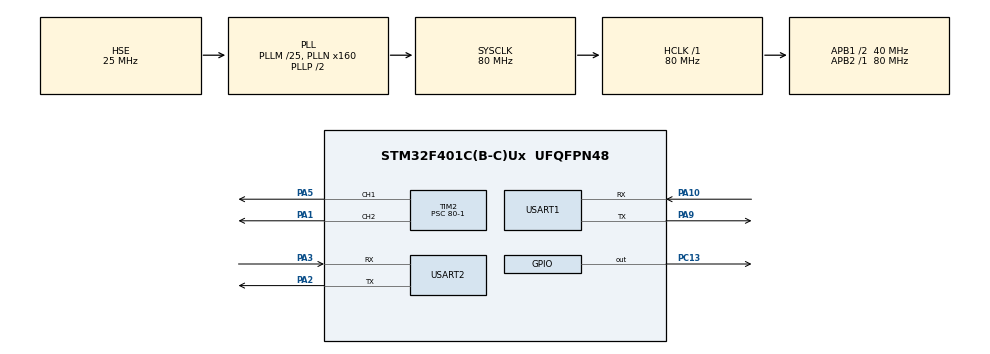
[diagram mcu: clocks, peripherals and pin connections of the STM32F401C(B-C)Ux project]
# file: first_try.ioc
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FREERTOS.BinarySemaphores01=myBinarySem_UART1GY953Recv,Dynamic,NULL;myBinarySem_UART2Send,Dynamic,NULL;myBinarySem_UART1ToUART2TransReady,Dynamic,NULL;myBinarySem_UART2Recv,Dynamic,NULL;myBinarySem_MotorSpdChange,Dynamic,NULL;myBinarySem_YawCorrection,Dynamic,NULL;myBinarySem_PitchCorrection,Dynamic,NULL;myBinarySem_YawCorrect,Dynamic,NULL
FREERTOS.Tasks01=defaultTask,0,128,StartDefaultTask,Default,NULL,Dynamic,NULL,NULL;myTask02,-3,128,StartTaskUART1GY953,Default,NULL,Dynamic,NULL,NULL;myTask03,-3,128,StartTaskUART2,Default,NULL,Dynamic,NULL,NULL;myTask04,-3,128,StartTaskMotorCtrl,Default,NULL,Dynamic,NULL,NULL;myTask05,-3,128,StartTaskPID,Default,NULL,Dynamic,NULL,NULL;myTask06,-3,128,StartTaskYawCorrect,Default,NULL,Dynamic,NULL,NULL
FREERTOS.configUSE_NEWLIB_REENTRANT=0
Mcu.Family=STM32F4
Mcu.Name=STM32F401C(B-C)Ux
Mcu.Package=UFQFPN48
NVIC.PriorityGroup=NVIC_PRIORITYGROUP_4
NVIC.TIM1_UP_TIM10_IRQn=true\:15\:0\:false\:false\:true\:false\:false\:true\:true
NVIC.TimeBase=TIM1_UP_TIM10_IRQn
NVIC.TimeBaseIP=TIM1
NVIC.USART1_IRQn=true\:5\:0\:false\:false\:true\:true\:true\:true\:true
NVIC.USART2_IRQn=true\:5\:0\:false\:false\:true\:true\:true\:true\:true
PA1.Signal=S_TIM2_CH2
PA10.Mode=Asynchronous
PA10.Signal=USART1_RX
PA2.Mode=Asynchronous
PA2.Signal=USART2_TX
PA3.Mode=Asynchronous
PA3.Signal=USART2_RX
PA5.Signal=S_TIM2_CH1_ETR
PA9.Mode=Asynchronous
PA9.Signal=USART1_TX
PC13-ANTI_TAMP.GPIO_ModeDefaultOutputPP=GPIO_MODE_OUTPUT_OD
PC13-ANTI_TAMP.GPIO_PuPd=GPIO_NOPULL
PC13-ANTI_TAMP.Signal=GPIO_Output
PH0\ -\ OSC_IN.Mode=HSE-External-Oscillator
PH0\ -\ OSC_IN.Signal=RCC_OSC_IN
PH1\ -\ OSC_OUT.Mode=HSE-External-Oscillator
PH1\ -\ OSC_OUT.Signal=RCC_OSC_OUT
ProjectManager.HeapSize=0x200
ProjectManager.StackSize=0x400
ProjectManager.TargetToolchain=MDK-ARM V5
RCC.48MHZClocksFreq_Value=40000000
RCC.AHBFreq_Value=80000000
RCC.APB1CLKDivider=RCC_HCLK_DIV2
RCC.APB1Freq_Value=40000000
RCC.APB1TimFreq_Value=80000000
RCC.APB2Freq_Value=80000000
RCC.APB2TimFreq_Value=80000000
RCC.CortexFreq_Value=80000000
RCC.HCLKFreq_Value=80000000
RCC.HSE_VALUE=25000000
RCC.HSI_VALUE=16000000
RCC.LSE_VALUE=32768
RCC.PLLM=25
RCC.PLLN=160
RCC.PLLSourceVirtual=RCC_PLLSOURCE_HSE
RCC.SYSCLKFreq_VALUE=80000000
RCC.SYSCLKSource=RCC_SYSCLKSOURCE_PLLCLK
RCC.VCOOutputFreq_Value=160000000
SH.S_TIM2_CH1_ETR.0=TIM2_CH1,PWM Generation1 CH1
SH.S_TIM2_CH2.0=TIM2_CH2,PWM Generation2 CH2
TIM2.Channel-PWM\ Generation1\ CH1=TIM_CHANNEL_1
TIM2.Channel-PWM\ Generation2\ CH2=TIM_CHANNEL_2
TIM2.Period=20000-1
TIM2.Prescaler=80-1
TIM2.Pulse-PWM\ Generation1\ CH1=500
TIM2.Pulse-PWM\ Generation2\ CH2=500
USART1.VirtualMode=VM_ASYNC
USART2.VirtualMode=VM_ASYNC
VP_FREERTOS_VS_CMSIS_V1.Mode=CMSIS_V1
VP_SYS_VS_tim1.Mode=TIM1
board=custom

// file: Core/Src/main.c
/* USER CODE BEGIN Header */
/* USER CODE END Header */
#include "main.h"
#include "cmsis_os.h"

/* USER CODE BEGIN Includes */
#include "stdio.h"
#include "stdlib.h"
#include "string.h"
/* USER CODE END Includes */

/* USER CODE BEGIN PTD */
int SPEED;//要达到的速度
float PitchTemp = 0;
float YawTemp = 0;
float YawAngleCalibration = -42;
float PitchAngleCalibration = 3 ;
float PitchAverage = 0;
float YawAverage = 0;
int YawCorrectionSpeed = 0;
float PitchError = 0;
float SUM = 0;
int	flag=0;
typedef union {
    uint16_t   U16Data;
    int16_t    I16Data;
    int16_t    T16Data;
    uint8_t    C8Data[2];
}DataJointUnion;
typedef union {
    int16_t	   P16Data;
    uint8_t    P8Data[2];
}DataPitchUnion;

typedef union {
    int16_t	   Y16Data;
    uint8_t    Y8Data[2];
}DataYawUnion;

/* USER CODE END PTD */

/* USER CODE BEGIN PD */
#define	UART2_RECV_BUFF_LEN			11
#define UART1_RECV_BUFF_LEN         11
#define UART1_TRANS_BUFF_LEN        64
#define UART2_SEND_BUFF_LEN         64
#define	Pitch_Buff_LEN				64
#define	Yaw_Buff_LEN				64

/* USER CODE END PD */

TIM_HandleTypeDef htim2;

UART_HandleTypeDef huart1;
UART_HandleTypeDef huart2;

osThreadId defaultTaskHandle;
osThreadId myTask02Handle;
osThreadId myTask03Handle;
osThreadId myTask04Handle;
osThreadId myTask05Handle;
osThreadId myTask06Handle;
osSemaphoreId myBinarySem_UART1GY953RecvHandle;
osSemaphoreId myBinarySem_UART2SendHandle;
osSemaphoreId myBinarySem_UART1ToUART2TransReadyHandle;
osSemaphoreId myBinarySem_UART2RecvHandle;
osSemaphoreId myBinarySem_MotorSpdChangeHandle;
osSemaphoreId myBinarySem_YawCorrectionHandle;
osSemaphoreId myBinarySem_PitchCorrectionHandle;
osSemaphoreId myBinarySem_YawCorrectHandle;
/* USER CODE BEGIN PV */
uint8_t     UART1RecvBuff[UART1_RECV_BUFF_LEN];
uint8_t     UART1TransToUART2Buff[UART1_TRANS_BUFF_LEN];
int16_t     PitchBuff[Pitch_Buff_LEN];
int16_t     YawBuff[Pitch_Buff_LEN];
uint16_t    UART1TransToUART2Size=0;
uint16_t    PitchSize=0;
uint16_t    YawSize=0;
uint16_t    UART2SendSize=0;
uint8_t     UART2SendBuff[UART2_SEND_BUFF_LEN];
uint8_t 	UART2RecvBuff[UART2_RECV_BUFF_LEN];
/* USER CODE END PV */

void SystemClock_Config(void);
static void MX_GPIO_Init(void);
static void MX_TIM2_Init(void);
static void MX_USART1_UART_Init(void);
static void MX_USART2_UART_Init(void);
void StartDefaultTask(void const * argument);
void StartTaskUART1GY953(void const * argument);
void StartTaskUART2(void const * argument);
void StartTaskMotorCtrl(void const * argument);
void StartTaskPID(void const * argument);
void StartTaskYawCorrect(void const * argument);

int main(void)
{

  /* MCU Configuration--------------------------------------------------------*/

  /* Reset of all peripherals, Initializes the Flash interface and the Systick. */
  HAL_Init();

  /* Configure the system clock */
  SystemClock_Config();

  /* Initialize all configured peripherals */
  MX_GPIO_Init();
  MX_TIM2_Init();
  MX_USART1_UART_Init();
  MX_USART2_UART_Init();

  /* Create the semaphores(s) */
  /* definition and creation of myBinarySem_UART1GY953Recv */
  osSemaphoreDef(myBinarySem_UART1GY953Recv);
  myBinarySem_UART1GY953RecvHandle = osSemaphoreCreate(osSemaphore(myBinarySem_UART1GY953Recv), 1);

  /* definition and creation of myBinarySem_UART2Send */
  osSemaphoreDef(myBinarySem_UART2Send);
  myBinarySem_UART2SendHandle = osSemaphoreCreate(osSemaphore(myBinarySem_UART2Send), 1);

  /* definition and creation of myBinarySem_UART1ToUART2TransReady */
  osSemaphoreDef(myBinarySem_UART1ToUART2TransReady);
  myBinarySem_UART1ToUART2TransReadyHandle = osSemaphoreCreate(osSemaphore(myBinarySem_UART1ToUART2TransReady), 1);

  /* definition and creation of myBinarySem_UART2Recv */
  osSemaphoreDef(myBinarySem_UART2Recv);
  myBinarySem_UART2RecvHandle = osSemaphoreCreate(osSemaphore(myBinarySem_UART2Recv), 1);

  /* definition and creation of myBinarySem_MotorSpdChange */
  osSemaphoreDef(myBinarySem_MotorSpdChange);
  myBinarySem_MotorSpdChangeHandle = osSemaphoreCreate(osSemaphore(myBinarySem_MotorSpdChange), 1);

  /* definition and creation of myBinarySem_YawCorrection */
  osSemaphoreDef(myBinarySem_YawCorrection);
  myBinarySem_YawCorrectionHandle = osSemaphoreCreate(osSemaphore(myBinarySem_YawCorrection), 1);

  /* definition and creation of myBinarySem_PitchCorrection */
  osSemaphoreDef(myBinarySem_PitchCorrection);
  myBinarySem_PitchCorrectionHandle = osSemaphoreCreate(osSemaphore(myBinarySem_PitchCorrection), 1);

  /* definition and creation of myBinarySem_YawCorrect */
  osSemaphoreDef(myBinarySem_YawCorrect);
  myBinarySem_YawCorrectHandle = osSemaphoreCreate(osSemaphore(myBinarySem_YawCorrect), 1);

  /* Create the thread(s) */
  /* definition and creation of defaultTask */
  osThreadDef(defaultTask, StartDefaultTask, osPriorityNormal, 0, 128);
  defaultTaskHandle = osThreadCreate(osThread(defaultTask), NULL);

  /* definition and creation of myTask02 */
  osThreadDef(myTask02, StartTaskUART1GY953, osPriorityIdle, 0, 128);
  myTask02Handle = osThreadCreate(osThread(myTask02), NULL);

  /* definition and creation of myTask03 */
  osThreadDef(myTask03, StartTaskUART2, osPriorityIdle, 0, 128);
  myTask03Handle = osThreadCreate(osThread(myTask03), NULL);

  /* definition and creation of myTask04 */
  osThreadDef(myTask04, StartTaskMotorCtrl, osPriorityIdle, 0, 128);
  myTask04Handle = osThreadCreate(osThread(myTask04), NULL);

  /* definition and creation of myTask05 */
  osThreadDef(myTask05, StartTaskPID, osPriorityIdle, 0, 128);
  myTask05Handle = osThreadCreate(osThread(myTask05), NULL);

  /* definition and creation of myTask06 */
  osThreadDef(myTask06, StartTaskYawCorrect, osPriorityIdle, 0, 128);
  myTask06Handle = osThreadCreate(osThread(myTask06), NULL);

  /* Start scheduler */
  osKernelStart();

  /* We should never get here as control is now taken by the scheduler */
  /* Infinite loop */

}

void SystemClock_Config(void)
{
  RCC_OscInitTypeDef RCC_OscInitStruct = {0};
  RCC_ClkInitTypeDef RCC_ClkInitStruct = {0};

  /** Configure the main internal regulator output voltage
  */
  __HAL_RCC_PWR_CLK_ENABLE();
  __HAL_PWR_VOLTAGESCALING_CONFIG(PWR_REGULATOR_VOLTAGE_SCALE2);

  /** Initializes the RCC Oscillators according to the specified parameters
  * in the RCC_OscInitTypeDef structure.
  */
  RCC_OscInitStruct.OscillatorType = RCC_OSCILLATORTYPE_HSE;
  RCC_OscInitStruct.HSEState = RCC_HSE_ON;
  RCC_OscInitStruct.PLL.PLLState = RCC_PLL_ON;
  RCC_OscInitStruct.PLL.PLLSource = RCC_PLLSOURCE_HSE;
  RCC_OscInitStruct.PLL.PLLM = 25;
  RCC_OscInitStruct.PLL.PLLN = 160;
  RCC_OscInitStruct.PLL.PLLP = RCC_PLLP_DIV2;
  RCC_OscInitStruct.PLL.PLLQ = 4;
  if (HAL_RCC_OscConfig(&RCC_OscInitStruct) != HAL_OK)
  {
    Error_Handler();
  }

  /** Initializes the CPU, AHB and APB buses clocks
  */
  RCC_ClkInitStruct.ClockType = RCC_CLOCKTYPE_HCLK|RCC_CLOCKTYPE_SYSCLK
                              |RCC_CLOCKTYPE_PCLK1|RCC_CLOCKTYPE_PCLK2;
  RCC_ClkInitStruct.SYSCLKSource = RCC_SYSCLKSOURCE_PLLCLK;
  RCC_ClkInitStruct.AHBCLKDivider = RCC_SYSCLK_DIV1;
  RCC_ClkInitStruct.APB1CLKDivider = RCC_HCLK_DIV2;
  RCC_ClkInitStruct.APB2CLKDivider = RCC_HCLK_DIV1;

  if (HAL_RCC_ClockConfig(&RCC_ClkInitStruct, FLASH_LATENCY_2) != HAL_OK)
  {
    Error_Handler();
  }
}

static void MX_TIM2_Init(void)
{

  TIM_MasterConfigTypeDef sMasterConfig = {0};
  TIM_OC_InitTypeDef sConfigOC = {0};

  htim2.Instance = TIM2;
  htim2.Init.Prescaler = 80-1;
  htim2.Init.CounterMode = TIM_COUNTERMODE_UP;
  htim2.Init.Period = 20000-1;
  htim2.Init.ClockDivision = TIM_CLOCKDIVISION_DIV1;
  htim2.Init.AutoReloadPreload = TIM_AUTORELOAD_PRELOAD_DISABLE;
  if (HAL_TIM_PWM_Init(&htim2) != HAL_OK)
  {
    Error_Handler();
  }
  sMasterConfig.MasterOutputTrigger = TIM_TRGO_RESET;
  sMasterConfig.MasterSlaveMode = TIM_MASTERSLAVEMODE_DISABLE;
  if (HAL_TIMEx_MasterConfigSynchronization(&htim2, &sMasterConfig) != HAL_OK)
  {
    Error_Handler();
  }
  sConfigOC.OCMode = TIM_OCMODE_PWM1;
  sConfigOC.Pulse = 500;
  sConfigOC.OCPolarity = TIM_OCPOLARITY_HIGH;
  sConfigOC.OCFastMode = TIM_OCFAST_DISABLE;
  if (HAL_TIM_PWM_ConfigChannel(&htim2, &sConfigOC, TIM_CHANNEL_1) != HAL_OK)
  {
    Error_Handler();
  }
  if (HAL_TIM_PWM_ConfigChannel(&htim2, &sConfigOC, TIM_CHANNEL_2) != HAL_OK)
  {
    Error_Handler();
  }
  HAL_TIM_MspPostInit(&htim2);

}

static void MX_USART1_UART_Init(void)
{

  huart1.Instance = USART1;
  huart1.Init.BaudRate = 115200;
  huart1.Init.WordLength = UART_WORDLENGTH_8B;
  huart1.Init.StopBits = UART_STOPBITS_1;
  huart1.Init.Parity = UART_PARITY_NONE;
  huart1.Init.Mode = UART_MODE_TX_RX;
  huart1.Init.HwFlowCtl = UART_HWCONTROL_NONE;
  huart1.Init.OverSampling = UART_OVERSAMPLING_16;
  if (HAL_UART_Init(&huart1) != HAL_OK)
  {
    Error_Handler();
  }

}

static void MX_USART2_UART_Init(void)
{

  huart2.Instance = USART2;
  huart2.Init.BaudRate = 115200;
  huart2.Init.WordLength = UART_WORDLENGTH_8B;
  huart2.Init.StopBits = UART_STOPBITS_1;
  huart2.Init.Parity = UART_PARITY_NONE;
  huart2.Init.Mode = UART_MODE_TX_RX;
  huart2.Init.HwFlowCtl = UART_HWCONTROL_NONE;
  huart2.Init.OverSampling = UART_OVERSAMPLING_16;
  if (HAL_UART_Init(&huart2) != HAL_OK)
  {
    Error_Handler();
  }

}

static void MX_GPIO_Init(void)
{
  GPIO_InitTypeDef GPIO_InitStruct = {0};

  /* GPIO Ports Clock Enable */
  __HAL_RCC_GPIOC_CLK_ENABLE();
  __HAL_RCC_GPIOH_CLK_ENABLE();
  __HAL_RCC_GPIOA_CLK_ENABLE();

  /*Configure GPIO pin Output Level */
  HAL_GPIO_WritePin(GPIOC, GPIO_PIN_13, GPIO_PIN_RESET);

  /*Configure GPIO pin : PC13 */
  GPIO_InitStruct.Pin = GPIO_PIN_13;
  GPIO_InitStruct.Mode = GPIO_MODE_OUTPUT_OD;
  GPIO_InitStruct.Pull = GPIO_NOPULL;
  GPIO_InitStruct.Speed = GPIO_SPEED_FREQ_LOW;
  HAL_GPIO_Init(GPIOC, &GPIO_InitStruct);

}

/* USER CODE BEGIN 4 */
//下面这两个中断是起始
void HAL_UART_RxCpltCallback(UART_HandleTypeDef *huart)
{
    if(huart == &huart1)
    {
        osSemaphoreRelease(myBinarySem_UART1GY953RecvHandle);
        HAL_UART_Receive_IT(&huart1, UART1RecvBuff, UART1_RECV_BUFF_LEN);//中断接受传感器数据并释放接收信标
    }
}

void HAL_UART_TxCpltCallback(UART_HandleTypeDef *huart)
{
    if(huart == &huart2)
    {
        osSemaphoreRelease(myBinarySem_UART2SendHandle);//释放UART2信标
    }
}

// Motor Control 电机控制函数

void MotorCtrl(uint8_t chn, int16_t spd)
{
	if(spd>200){spd = 200;}

	if(spd<-200){spd = -200;}

	switch(chn)
	{
		case 0 :
			spd = spd + 1500;
			__HAL_TIM_SET_COMPARE(&htim2, TIM_CHANNEL_1, spd);	//scope 500~2500
			break;
		case 1 :
			spd = -1 * spd + 1500;
			__HAL_TIM_SET_COMPARE(&htim2, TIM_CHANNEL_2, spd);	// scope 500~2500
			break;
		default:break;
	}
}

// Motor Calibration 电机死区修正函数
void MotorCalib(uint8_t chn, int16_t spd)
{
  int16_t   dead_down_left, dead_down_right,dead_up_left,dead_up_right;
	dead_down_left=-150+3*27;
	dead_up_left=-150+3*62;
	dead_down_right = -150+3*32;
	dead_up_right = -150+3*67;
	switch(chn)
	{
	case 0:
		if(spd < 0)
		{
			spd = spd + dead_down_left;
		}
		else if(spd > 0)
		{
			spd = spd + dead_up_left;
		}
		break;
	case 1:
		if(spd < 0)
		{
			spd = spd + dead_down_right;
		}
		else if (spd > 0)
		{
			spd = spd + dead_up_right;
		}
		break;
	default:
		break;
	}

	MotorCtrl(chn, spd);
}

/* spd > 0  Motor0 Turn Clockwise 电机0 顺时钟转动 小车后退*/
/* spd > 0  Motor1 Turn Clockwise 电机1 逆时钟转动 小车后退*/
// 计算俯仰角与航向角平均值角度
void CalculateAverage(void)//以后需要改进成滤波算法
{

	int number = 5;
	float SumOfPitch = 0;
	float SumOfYaw = 0;
	for(int i = 0; i < number; i++)
	{
		SumOfPitch +=  PitchTemp;
		SumOfYaw +=  YawTemp;
		osDelay(20);//这个Delay的作用：50Hz接收频率
	}
	PitchAverage = SumOfPitch / number;  // 全局变量
	YawAverage = SumOfYaw / number;      // 全局变量
}
struct _YawPIDParam
{
	float ActualYaw;        // 定义实际值
	float err;                // 定义偏差值
	float err_last;           // 定义上一个偏差值
	float Kp;                 //定义比例系数
	float Ki;                 //定义积分系数
	float Kd;                 //定义微分系数
	float integral;           //定义积分值
}YawPIDParam;

struct _PitchPIDParam
{
	float ActualPitch;		  // 定义实际值
	float err;                // 定义偏差值
	float err_last;           // 定义上一个偏差值
	float Kp;                 //定义比例系数
	float Ki;                 //定义积分系数
	float Kd;                 //定义微分系数
	float integral;           //定义积分值
}PitchPIDParam;
void YawPIDInit()
{
	YawPIDParam.ActualYaw = 0;
	YawPIDParam.err = 0;
	YawPIDParam.err_last = 0;
	YawPIDParam.Kp = 1;//
	YawPIDParam.Ki = 0.2;
	YawPIDParam.Kd = 1.4;
	YawPIDParam.integral = 0;

}
int YawPIDControl(float YawAverage)
{
	YawPIDInit();
	YawPIDParam.ActualYaw = YawAverage;
	YawPIDParam.err = YawPIDParam.ActualYaw - YawAngleCalibration;
	YawPIDParam.integral += YawPIDParam.err;
	YawPIDParam.ActualYaw = YawPIDParam.Kp* YawPIDParam.err + YawPIDParam.Ki * YawPIDParam.integral + YawPIDParam.Kd * (YawPIDParam.err - YawPIDParam.err_last);
	//UART2SendIntegerVariable(YawPIDParam.Kp);
	YawPIDParam.err_last = YawPIDParam.err;
	YawCorrectionSpeed = (int)(10* YawPIDParam.ActualYaw);//100*PID计算值，得到YawCorrectionSpeed
	//UART2SendIntegerVariable(YawCorrectionSpeed);
	osSemaphoreRelease(myBinarySem_YawCorrectionHandle);//释放Yaw信标
	return YawCorrectionSpeed;
}
int PitchPIDControl(float PitchAverage)
{
		PitchPIDParam.ActualPitch = PitchAverage; // 俯仰角均值传递给实际俯仰角
		PitchPIDParam.err = PitchPIDParam.ActualPitch - PitchAngleCalibration;  // 偏差
		PitchPIDParam.integral += PitchPIDParam.err;
		if (PitchPIDParam.integral > 100 || PitchPIDParam.integral < -100)
		{
			PitchPIDParam.integral = 100;
		}

		if (PitchPIDParam.err >= 2.0 || -2.0 >= PitchPIDParam.err)
		{
			PitchPIDParam.Kp = 1;                                // 定义比例系数
			PitchPIDParam.Ki = 0.0015;                                // 定义积分系数
			PitchPIDParam.Kd = 4.0;
		}
		else if (PitchPIDParam.err < 2.0 && -2.0 < PitchPIDParam.err)
		{
			PitchPIDParam.Kp = 0.8;                                // 定义比例系数
			PitchPIDParam.Ki = 0.0015;                                // 定义积分系数
			PitchPIDParam.Kd = 3.2;
		}
		PitchPIDParam.ActualPitch = PitchPIDParam.Kp * PitchPIDParam.err + PitchPIDParam.Ki * PitchPIDParam.integral + PitchPIDParam.Kd * (PitchPIDParam.err - PitchPIDParam.err_last);
		PitchPIDParam.err_last = PitchPIDParam.err;
		SPEED = (int)(10 * PitchPIDParam.ActualPitch);//更改全局变量speed
		PitchError = PitchPIDParam.err; // 更改全局变量PitchError和SPEED

		return SPEED;
}
void update_all_data(void)
{
	CalculateAverage();//更改两个全局变量PitchAverage和YawAverage（平均滤波）
	YawPIDControl(YawAverage);//释放Yaw信标并得到全局变量YawCorrectionSpeed
	PitchPIDControl(PitchAverage);// 更改全局变量PitchError和SPEED
}
void back_to_ground(void)
{
	update_all_data();
	SPEED = 200;
	osSemaphoreRelease(myBinarySem_MotorSpdChangeHandle);
	osDelay(500);//交出电机控制权0.5s,让跷跷板不平衡
	while(PitchError>1.3 || PitchError<-1.3)
	{
			while (YawCorrectionSpeed < -2)//+++++++++++++++++++++++++++++++++++++++++++++++++++++++++++++++++++++++++++++++++++++++++++++++++++++++++++++++++++++++++++++++++++++在【-，-2】，【2，+】这个范围内Yaw调整，还在下方
			{
				YawCorrectionSpeed = -YawCorrectionSpeed;
				osSemaphoreRelease(myBinarySem_MotorSpdChangeHandle);
				osDelay(10);//交出电机控制权
//						MotorCalib(1, -YawCorrectionSpeed);
//						MotorCalib(0, YawCorrectionSpeed);
				if (YawCorrectionSpeed < 5 && YawCorrectionSpeed > -5)//Yaw在这个【-5，5】调整Pitch，不调Yaw，不能动SPEED=0
				{
					osSemaphoreRelease(myBinarySem_MotorSpdChangeHandle);
					osDelay(10);//调用MotorCtrl函数
					break;
				}
				update_all_data();//更新所有的全局变量
			}

		while (YawCorrectionSpeed > 2)//在【-，-2】，【2，+】这个范围内Yaw调整，还在下方
				{
					osSemaphoreRelease(myBinarySem_MotorSpdChangeHandle);
					osDelay(10);//调用MotorCtrl函数
	//						MotorCalib(1, -YawCorrectionSpeed);
	//						MotorCalib(0, YawCorrectionSpeed);
					if (YawCorrectionSpeed < 5 && YawCorrectionSpeed > -5)//Yaw在这个【-5，5】调整Pitch，不调Yaw，不能动SPEED=0
					{
						osSemaphoreRelease(myBinarySem_MotorSpdChangeHandle);
						osDelay(10);//调用MotorCtrl函数
						break;
					}
					update_all_data();//更新所有的全局变量
				}
	}
	while(1)
	{
		SPEED = 0;
		osSemaphoreRelease(myBinarySem_MotorSpdChangeHandle);
		osDelay(1);
	}
}
/* USER CODE END 4 */

void StartDefaultTask(void const * argument)
{
	for(;;)
  {
    osDelay(1);
  }
}

void StartTaskUART1GY953(void const * argument)
{
  /* USER CODE BEGIN StartTaskUART1GY953 */
	  uint8_t cmd0[]={0xA5,0x15,0xBA};// acceleration data
    uint8_t cmd1[]={0xA5,0x35,0xDA};// magnet data
    uint8_t cmd2[]={0xA5,0x45,0xEA};// Euler data(50Hz)

    DataJointUnion  tempUnion;
    DataPitchUnion	PitchUnion;
    DataYawUnion	YawUnion;
    uint8_t isDirectTransToUART2=0;

    //osDelay(1000);//这是干嘛的？
    HAL_UART_Transmit(&huart1, cmd1, sizeof(cmd1), 100);//单片机索要magnet data
    HAL_UART_Transmit(&huart1, cmd2, sizeof(cmd2), 100);//单片机索要Euler data

    HAL_UART_Receive_IT(&huart1, UART1RecvBuff, UART1_RECV_BUFF_LEN);//单片机拿到data
  /* Infinite loop */
    for(;;)
	    {
	        osSemaphoreWait(myBinarySem_UART1GY953RecvHandle, osWaitForever);//一直等从中断来的UART1信标，20ms来一次
	        UART1TransToUART2Size   = 0;
	        PitchSize=0;
	        if(isDirectTransToUART2) {
	            memcpy(UART1TransToUART2Buff, UART1RecvBuff, UART1_RECV_BUFF_LEN);
	            UART1TransToUART2Size   = UART1_RECV_BUFF_LEN;
	        } else {
	            switch(UART1RecvBuff[2]) {
	                case    0x15    :
	                    tempUnion.C8Data[1]     = UART1RecvBuff[4];
	                    tempUnion.C8Data[0]     = UART1RecvBuff[5];
	                    sprintf((UART1TransToUART2Buff + UART1TransToUART2Size), "Ax:%05d ", tempUnion.U16Data);
	                    UART1TransToUART2Size   = UART1TransToUART2Size + 9;
	                    tempUnion.C8Data[1]     = UART1RecvBuff[6];
	                    tempUnion.C8Data[0]     = UART1RecvBuff[7];
	                    sprintf((UART1TransToUART2Buff + UART1TransToUART2Size), "Ay:%05d ", tempUnion.U16Data);
	                    UART1TransToUART2Size   = UART1TransToUART2Size + 9;
	                    tempUnion.C8Data[1]     = UART1RecvBuff[8];
	                    tempUnion.C8Data[0]     = UART1RecvBuff[9];
	                    sprintf((UART1TransToUART2Buff + UART1TransToUART2Size), "Az:%05d \r\n", tempUnion.U16Data);
	                    UART1TransToUART2Size   = UART1TransToUART2Size + 9 + 2;

	                    break;
	                case    0x35    :

	                    tempUnion.C8Data[1]     = UART1RecvBuff[4];
	                    tempUnion.C8Data[0]     = UART1RecvBuff[5];
	                    sprintf((UART1TransToUART2Buff + UART1TransToUART2Size), "Mx:%06d ", tempUnion.I16Data);
	                    UART1TransToUART2Size   = UART1TransToUART2Size + 10;
	                    tempUnion.C8Data[1]     = UART1RecvBuff[6];
	                    tempUnion.C8Data[0]     = UART1RecvBuff[7];
	                    sprintf((UART1TransToUART2Buff + UART1TransToUART2Size), "My:%06d ", tempUnion.I16Data);
	                    UART1TransToUART2Size   = UART1TransToUART2Size + 10;
	                    tempUnion.C8Data[1]     = UART1RecvBuff[8];
	                    tempUnion.C8Data[0]     = UART1RecvBuff[9];
	                    sprintf((UART1TransToUART2Buff + UART1TransToUART2Size), "Mz:%06d \r\n", tempUnion.I16Data);
	                    UART1TransToUART2Size   = UART1TransToUART2Size + 10 + 2;

	                    break;
	                case    0x45    :
	                    tempUnion.C8Data[1]     = UART1RecvBuff[4];
	                    tempUnion.C8Data[0]     = UART1RecvBuff[5];
	                    tempUnion.T16Data = tempUnion.T16Data/0x64;
	                    sprintf((UART1TransToUART2Buff + UART1TransToUART2Size), "R:%06d ", tempUnion.T16Data);
	                    UART1TransToUART2Size   = UART1TransToUART2Size + 9;
	                    tempUnion.C8Data[1]     = UART1RecvBuff[6];
	                    tempUnion.C8Data[0]     = UART1RecvBuff[7];
	                    tempUnion.T16Data = tempUnion.T16Data/0x64;
	                    sprintf((UART1TransToUART2Buff + UART1TransToUART2Size), "P:%06d ", tempUnion.T16Data);

	                    /*俯仰角采集*/
	                    PitchUnion.P8Data[1]     = UART1RecvBuff[6];
	                    PitchUnion.P8Data[0]     = UART1RecvBuff[7];
	                    PitchUnion.P16Data = PitchUnion.P16Data/0x64;
	                    PitchTemp=(float)PitchUnion.P16Data;
	                    //PitchSize  = PitchSize + 9;

	                    UART1TransToUART2Size   = UART1TransToUART2Size + 9;
	                    tempUnion.C8Data[1]     = UART1RecvBuff[8];
	                    tempUnion.C8Data[0]     = UART1RecvBuff[9];
	                    tempUnion.T16Data = tempUnion.T16Data/0x64;
	                    sprintf((UART1TransToUART2Buff + UART1TransToUART2Size), "Y:%06d \r\n", tempUnion.T16Data);
	                    UART1TransToUART2Size   = UART1TransToUART2Size + 9 + 2;

	                    /*航向角取值*/
	                    YawUnion.Y8Data[1]     = UART1RecvBuff[8];
	                    YawUnion.Y8Data[0]     = UART1RecvBuff[9];
	                    YawUnion.Y16Data = YawUnion.Y16Data/0x64;
	                    YawTemp = (float)YawUnion.Y16Data;//得到一次的值
	                    //YawSize  = YawSize + 9;

	                    break;
	            }
	        }
	        osSemaphoreRelease(myBinarySem_UART1ToUART2TransReadyHandle);//释放UART1ToUART2信标
	        osDelay(1);//尽快不断得到新值
	    }
  /* USER CODE END StartTaskUART1GY953 */
}

void StartTaskUART2(void const * argument)
{
  /* USER CODE BEGIN StartTaskUART2 */
	  HAL_UART_Transmit_IT(&huart2, "helloReady!", 11);

  /* Infinite loop */
    for(;;)
    {
        osSemaphoreWait(myBinarySem_UART1ToUART2TransReadyHandle, osWaitForever);//一直等UART1ToUART2信标
        osSemaphoreWait(myBinarySem_UART2SendHandle, osWaitForever);//为什么要等UART2信标100ms？这个信标由中断产生
        memcpy(UART2SendBuff, UART1TransToUART2Buff, UART1TransToUART2Size);
        UART2SendSize   = UART1TransToUART2Size;
        HAL_UART_Transmit_IT(&huart2, UART2SendBuff, UART2SendSize);
        osDelay(1000);//每1000ms往电脑传一次数据，这个速度无所谓，只是看着舒服
    }
  /* USER CODE END StartTaskUART2 */
}

void StartTaskMotorCtrl(void const * argument)
{
  /* USER CODE BEGIN StartTaskMotorCtrl */
	//可以执行
  HAL_TIM_PWM_Start(&htim2, TIM_CHANNEL_1);//打开时钟1
  HAL_TIM_PWM_Start(&htim2, TIM_CHANNEL_2);//打开时钟2
  /* Infinite loop */

  for(;;)
  {
//    osSemaphoreWait (myBinarySem_YawCorrectionHandle, osWaitForever);//暂不需要等待信标
		/*------------------------------注释了下面的部分，还换了osdelay的位置---------------------*/
//		while (YawCorrectionSpeed < -3 && YawCorrectionSpeed > 3)
//		{
//			CalculateAverage();
//			YawPIDControl(YawAverage);
			osSemaphoreWait(myBinarySem_MotorSpdChangeHandle,osWaitForever);
			MotorCalib(0, -YawCorrectionSpeed);//SPEED来源于PitchPIDControl，只根据Pitch变
			MotorCalib(1, YawCorrectionSpeed);
			osDelay(1);//不只是不断断循环 = 20ms*5，行进过程中的修正间隔
			MotorCalib(0, SPEED);
			MotorCalib(1, SPEED);
			osDelay(1);
//		}
		/*------------------------------注释了上面的部分---------------------*/
//		osSemaphoreWait (myBinarySem_PitchCorrectionHandle, osWaitForever);
  }
  /* USER CODE END StartTaskMotorCtrl */
}

void StartTaskPID(void const * argument)
{
  for(;;)
  {
    osDelay(1);
  }
}

void StartTaskYawCorrect(void const * argument)
{
  /* USER CODE BEGIN StartTaskYawCorrect */
  /* Infinite loop */
	int err;
  int array=0;
	for(;;)
    {
		update_all_data();//更新所有的全局变量
		err = YawCorrectionSpeed;
		while (YawCorrectionSpeed < -2)//在【-，-2】，【2，+】这个范围内Yaw调整，还在下方
					{
						YawCorrectionSpeed = -YawCorrectionSpeed;
						osSemaphoreRelease(myBinarySem_MotorSpdChangeHandle);
						osDelay(10);//交出电机控制权
//						MotorCalib(1, -YawCorrectionSpeed);
//						MotorCalib(0, YawCorrectionSpeed);
						if (YawCorrectionSpeed < 5 && YawCorrectionSpeed > -5)//Yaw在这个【-5，5】调整Pitch，不调Yaw，不能动SPEED=0
						{
							osSemaphoreRelease(myBinarySem_MotorSpdChangeHandle);
							osDelay(10);//调用MotorCtrl函数
							break;
						}
						update_all_data();//更新所有的全局变量
					}

		while (YawCorrectionSpeed > 2)//在【-，-2】，【2，+】这个范围内Yaw调整，还在下方
					{
						osSemaphoreRelease(myBinarySem_MotorSpdChangeHandle);
						osDelay(10);//调用MotorCtrl函数
//						MotorCalib(1, -YawCorrectionSpeed);
//						MotorCalib(0, YawCorrectionSpeed);
						if (YawCorrectionSpeed < 5 && YawCorrectionSpeed > -5)//Yaw在这个【-5，5】调整Pitch，不调Yaw，不能动SPEED=0
						{
							osSemaphoreRelease(myBinarySem_MotorSpdChangeHandle);
							osDelay(10);//调用MotorCtrl函数
							break;
						}
						update_all_data();//更新所有的全局变量
					}
		while (YawCorrectionSpeed >= -2 && YawCorrectionSpeed <= 2)//Yaw在【-2，2】内往前走
			{
			while(PitchError<=3 && PitchError>=-3 && flag==0)//Pitch在【-，3】内，即在地面上，flag让这一段全局只执行一次
			{
				SPEED = 100;
				osSemaphoreRelease(myBinarySem_MotorSpdChangeHandle);
				osDelay(10);//调用MotorCtrl函数
//				osDelay(8000);//8秒走到顶，距离=8000*100mm
//				HAL_GPIO_TogglePin(GPIOC, GPIO_PIN_13);//闪灯
				update_all_data();//更新所有的全局变量

			}
			if(PitchError>3 || PitchError<-3)
			{
				flag=1;
			}

			update_all_data();//更新所有的全局变量
			if (YawCorrectionSpeed < 5 && YawCorrectionSpeed > -5)//Yaw在【-5，5】内调整Pitch，不调Yaw
			{
				if(PitchError<=1.5 && PitchError >=-1.5)
				{
					array++;
					SPEED = 0;
					osSemaphoreRelease(myBinarySem_MotorSpdChangeHandle);
					osDelay(10);//调用MotorCtrl函数
					HAL_GPIO_WritePin(GPIOC,GPIO_PIN_13,1);
					if(array>=150)
					{
						back_to_ground();
					}
					//UART2SendIntegerVariable(array);

				}
				else
				{
					HAL_GPIO_WritePin(GPIOC,GPIO_PIN_13,0);
					MotorCalib(0, SPEED);
					MotorCalib(1, SPEED);
					CalculateAverage();//更改两个全局变量PitchAverage和YawnAverage（平均滤波），并释放MotorSpdChange信标
					break;
				}
			}
		update_all_data();//更新所有的全局变量
  	osDelay(1);
    }

	}
  /* USER CODE END StartTaskYawCorrect */
}

void HAL_TIM_PeriodElapsedCallback(TIM_HandleTypeDef *htim)
{
  if (htim->Instance == TIM1) {
    HAL_IncTick();
  }
}

void Error_Handler(void)
{
}
